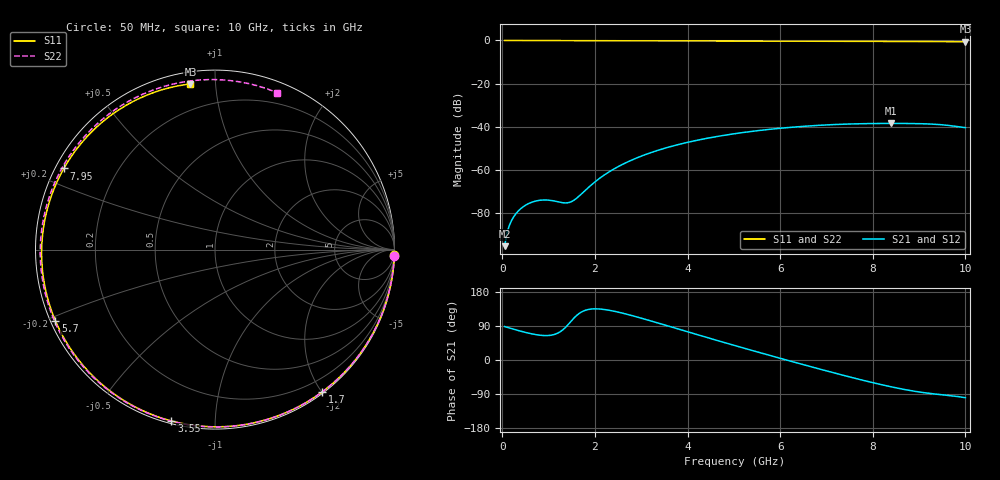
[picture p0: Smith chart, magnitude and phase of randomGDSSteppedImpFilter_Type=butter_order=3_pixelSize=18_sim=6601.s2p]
! freq	dB(S11)	phase(S11)	dB(S12)	phase(S12)
!  dB(S21)	phase(S21)	dB(S22)	phase(S22)
!S-par simulation data
#  GHz  S  DB  R 50
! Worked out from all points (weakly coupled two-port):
!   200 points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, 50 MHz to 10 GHz, reference 50 ohm
!   highest |S21| = -38.45 dB at 8.4 GHz (marker M1); lowest = -95.3 dB at 50 MHz (marker M2)
!   lowest |S11| = -0.6 dB at 10 GHz (marker M3), VSWR 28.84, Z = 3.02 + j43 ohm
!   |S11| at or under -10 dB: nowhere
!   |S22| runs from -0.5 to 0.0 dB; largest |S21 - S12| = 0
!   S11 on the Smith chart (normalised r, x): 50 MHz: 0, -71; 1.7 GHz: 0.02, -2.00; 3.55 GHz: 0.01, -0.78; 5.7 GHz: 0.01, -0.21; 7.95 GHz: 0.02, +0.25; 10 GHz: 0.06, +0.86
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0.05  -0.00 -1.6  -95.33 88.2  -95.33 88.2  -0.00 -2.1
0.3  -0.01 -9.6  -80.13 79.3  -80.13 79.3  -0.02 -12.6
0.55  -0.02 -17.6  -75.77 71.3  -75.77 71.3  -0.03 -23.0
0.8  -0.03 -25.5  -74.10 65.6  -74.10 65.6  -0.04 -33.2
1.45  -0.06 -45.6  -75.05 97.4  -75.05 97.4  -0.07 -58.6
1.7  -0.07 -53.1  -71.32 126.0  -71.32 126.0  -0.08 -67.9
1.75  -0.07 -54.6  -70.31 129.1  -70.31 129.1  -0.08 -69.7
2.1  -0.08 -64.8  -63.90 134.6  -63.90 134.6  -0.10 -82.1
2.45  -0.09 -74.8  -59.08 127.8  -59.08 127.8  -0.11 -93.8
2.9  -0.11 -87.2  -54.47 113.9  -54.47 113.9  -0.12 -108.1
3.4  -0.12 -100.4  -50.64 96.3  -50.64 96.3  -0.14 -122.9
3.55  -0.13 -104.3  -49.69 90.8  -49.69 90.8  -0.14 -127.2
4.3  -0.16 -123.0  -45.84 63.6  -45.84 63.6  -0.17 -147.5
5.05  -0.20 -140.9  -43.11 37.1  -43.11 37.1  -0.20 -166.5
5.7  -0.23 -156.0  -41.36 14.7  -41.36 14.7  -0.24 177.7
6.7  -0.30 -178.9  -39.51 -18.9  -39.51 -18.9  -0.30 153.7
7.35  -0.35 166.0  -38.82 -40.0  -38.82 -40.0  -0.34 137.9
7.95  -0.39 151.8  -38.51 -58.3  -38.51 -58.3  -0.38 123.0
8.35  -0.43 142.0  -38.45 -69.5  -38.45 -69.5  -0.41 112.8
8.4  -0.43 140.8  -38.45 -70.8  -38.45 -70.8  -0.41 111.5
9.2  -0.50 120.3  -38.69 -87.7  -38.69 -87.7  -0.47 90.4
10  -0.60 98.4  -40.42 -99.5  -40.42 -99.5  -0.53 68.4
